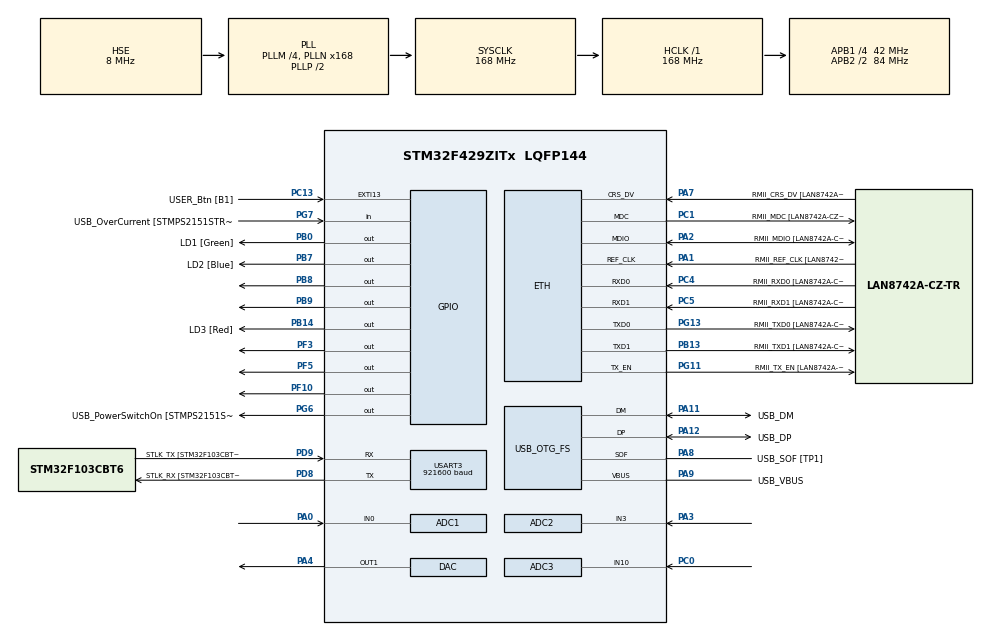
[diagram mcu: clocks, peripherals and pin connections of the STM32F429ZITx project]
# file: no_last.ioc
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ADC1.Channel-0\#ChannelRegularConversion=ADC_CHANNEL_0
ADC1.ContinuousConvMode=DISABLE
ADC1.DMAContinuousRequests=ENABLE
ADC1.ExternalTrigConv=ADC_EXTERNALTRIGCONV_T3_TRGO
ADC1.NbrOfConversion=1
ADC1.NbrOfConversionFlag=1
ADC1.Rank-0\#ChannelRegularConversion=1
ADC1.SamplingTime-0\#ChannelRegularConversion=ADC_SAMPLETIME_3CYCLES
ADC1.master=1
ADC2.Channel-3\#ChannelRegularConversion=ADC_CHANNEL_3
ADC2.ContinuousConvMode=DISABLE
ADC2.DMAContinuousRequests=ENABLE
ADC2.ExternalTrigConv=ADC_EXTERNALTRIGCONV_T2_TRGO
ADC2.NbrOfConversionFlag=1
ADC2.Rank-3\#ChannelRegularConversion=1
ADC2.SamplingTime-3\#ChannelRegularConversion=ADC_SAMPLETIME_3CYCLES
ADC3.Channel-2\#ChannelRegularConversion=ADC_CHANNEL_10
ADC3.DMAContinuousRequests=ENABLE
ADC3.ExternalTrigConv=ADC_EXTERNALTRIGCONV_T8_TRGO
ADC3.NbrOfConversionFlag=1
ADC3.Rank-2\#ChannelRegularConversion=1
ADC3.SamplingTime-2\#ChannelRegularConversion=ADC_SAMPLETIME_3CYCLES
DAC.DAC_Trigger=DAC_TRIGGER_T6_TRGO
Dma.ADC1.0.Direction=DMA_PERIPH_TO_MEMORY
Dma.ADC1.0.FIFOMode=DMA_FIFOMODE_DISABLE
Dma.ADC1.0.Instance=DMA2_Stream0
Dma.ADC1.0.MemDataAlignment=DMA_MDATAALIGN_WORD
Dma.ADC1.0.MemInc=DMA_MINC_ENABLE
Dma.ADC1.0.Mode=DMA_CIRCULAR
Dma.ADC1.0.PeriphDataAlignment=DMA_PDATAALIGN_WORD
Dma.ADC1.0.PeriphInc=DMA_PINC_DISABLE
Dma.ADC1.0.Priority=DMA_PRIORITY_LOW
Dma.ADC2.1.Direction=DMA_PERIPH_TO_MEMORY
Dma.ADC2.1.FIFOMode=DMA_FIFOMODE_DISABLE
Dma.ADC2.1.Instance=DMA2_Stream2
Dma.ADC2.1.MemDataAlignment=DMA_MDATAALIGN_WORD
Dma.ADC2.1.MemInc=DMA_MINC_DISABLE
Dma.ADC2.1.Mode=DMA_CIRCULAR
Dma.ADC2.1.PeriphDataAlignment=DMA_PDATAALIGN_WORD
Dma.ADC2.1.PeriphInc=DMA_PINC_DISABLE
Dma.ADC2.1.Priority=DMA_PRIORITY_LOW
Dma.ADC3.3.Direction=DMA_PERIPH_TO_MEMORY
Dma.ADC3.3.FIFOMode=DMA_FIFOMODE_DISABLE
Dma.ADC3.3.Instance=DMA2_Stream1
Dma.ADC3.3.MemDataAlignment=DMA_MDATAALIGN_HALFWORD
Dma.ADC3.3.MemInc=DMA_MINC_DISABLE
Dma.ADC3.3.Mode=DMA_CIRCULAR
Dma.ADC3.3.PeriphDataAlignment=DMA_PDATAALIGN_HALFWORD
Dma.ADC3.3.PeriphInc=DMA_PINC_DISABLE
Dma.ADC3.3.Priority=DMA_PRIORITY_LOW
Dma.DAC1.2.Direction=DMA_MEMORY_TO_PERIPH
Dma.DAC1.2.FIFOMode=DMA_FIFOMODE_DISABLE
Dma.DAC1.2.Instance=DMA1_Stream5
Dma.DAC1.2.MemDataAlignment=DMA_MDATAALIGN_HALFWORD
Dma.DAC1.2.MemInc=DMA_MINC_ENABLE
Dma.DAC1.2.Mode=DMA_CIRCULAR
Dma.DAC1.2.PeriphDataAlignment=DMA_PDATAALIGN_HALFWORD
Dma.DAC1.2.PeriphInc=DMA_PINC_DISABLE
Dma.DAC1.2.Priority=DMA_PRIORITY_LOW
Dma.Request0=ADC1
Dma.Request1=ADC2
Dma.Request2=DAC1
Dma.Request3=ADC3
ETH.MediaInterface=HAL_ETH_RMII_MODE
ETH.PHY_Name=LAN8742A_PHY_ADDRESS
ETH.PHY_Value=0
ETH.PhyAddress=0
Mcu.Family=STM32F4
Mcu.Name=STM32F429ZITx
Mcu.Package=LQFP144
NVIC.ADC_IRQn=true\:0\:0\:false\:false\:true\:true\:true\:true
NVIC.DMA1_Stream5_IRQn=true\:0\:0\:false\:false\:true\:false\:true\:true
NVIC.DMA2_Stream0_IRQn=true\:0\:0\:false\:false\:true\:false\:true\:true
NVIC.DMA2_Stream1_IRQn=true\:0\:0\:false\:false\:true\:false\:true\:true
NVIC.DMA2_Stream2_IRQn=true\:0\:0\:false\:false\:true\:false\:true\:true
NVIC.PriorityGroup=NVIC_PRIORITYGROUP_4
NVIC.TIM6_DAC_IRQn=true\:0\:0\:false\:false\:true\:true\:true\:true
NVIC.USART3_IRQn=true\:0\:0\:false\:false\:true\:true\:true\:true
PA0/WKUP.Signal=ADCx_IN0
PA1.GPIO_Label=RMII_REF_CLK [LAN8742A-CZ-TR_REFCLK0]
PA1.Mode=RMII
PA1.Signal=ETH_REF_CLK
PA10.GPIO_Label=USB_ID
PA10.Signal=USB_OTG_FS_ID
PA11.GPIO_Label=USB_DM
PA11.Mode=Device_Only
PA11.Signal=USB_OTG_FS_DM
PA12.GPIO_Label=USB_DP
PA12.Mode=Device_Only
PA12.Signal=USB_OTG_FS_DP
PA13.GPIO_Label=TMS
PA13.Mode=Serial_Wire
PA13.Signal=SYS_JTMS-SWDIO
PA14.GPIO_Label=TCK
PA14.Mode=Serial_Wire
PA14.Signal=SYS_JTCK-SWCLK
PA2.GPIO_Label=RMII_MDIO [LAN8742A-CZ-TR_MDIO]
PA2.Mode=RMII
PA2.Signal=ETH_MDIO
PA3.Signal=ADCx_IN3
PA4.Signal=COMP_DAC1_group
PA7.GPIO_Label=RMII_CRS_DV [LAN8742A-CZ-TR_CRS_DV]
PA7.Mode=RMII
PA7.Signal=ETH_CRS_DV
PA8.GPIO_Label=USB_SOF [TP1]
PA8.Mode=Activate_SOF_FS
PA8.Signal=USB_OTG_FS_SOF
PA9.GPIO_Label=USB_VBUS
PA9.Mode=Activate_VBUS
PA9.Signal=USB_OTG_FS_VBUS
PB0.GPIO_Label=LD1 [Green]
PB0.Signal=GPIO_Output
PB13.GPIO_Label=RMII_TXD1 [LAN8742A-CZ-TR_TXD1]
PB13.Mode=RMII
PB13.Signal=ETH_TXD1
PB14.GPIO_Label=LD3 [Red]
PB14.Signal=GPIO_Output
PB7.GPIO_Label=LD2 [Blue]
PB7.Signal=GPIO_Output
PB8.Signal=GPIO_Output
PB9.Signal=GPIO_Output
PC0.Signal=ADCx_IN10
PC1.GPIO_Label=RMII_MDC [LAN8742A-CZ-TR_MDC]
PC1.Mode=RMII
PC1.Signal=ETH_MDC
PC13.GPIO_Label=USER_Btn [B1]
PC13.Signal=GPXTI13
PC14/OSC32_IN.Mode=LSE-External-Oscillator
PC14/OSC32_IN.Signal=RCC_OSC32_IN
PC15/OSC32_OUT.Mode=LSE-External-Oscillator
PC15/OSC32_OUT.Signal=RCC_OSC32_OUT
PC4.GPIO_Label=RMII_RXD0 [LAN8742A-CZ-TR_RXD0]
PC4.Mode=RMII
PC4.Signal=ETH_RXD0
PC5.GPIO_Label=RMII_RXD1 [LAN8742A-CZ-TR_RXD1]
PC5.Mode=RMII
PC5.Signal=ETH_RXD1
PD8.GPIO_Label=STLK_RX [STM32F103CBT6_PA3]
PD8.Mode=Asynchronous
PD8.Signal=USART3_TX
PD9.GPIO_Label=STLK_TX [STM32F103CBT6_PA2]
PD9.Mode=Asynchronous
PD9.Signal=USART3_RX
PF10.Signal=GPIO_Output
PF3.Signal=GPIO_Output
PF5.Signal=GPIO_Output
PG11.GPIO_Label=RMII_TX_EN [LAN8742A-CZ-TR_TXEN]
PG11.Mode=RMII
PG11.Signal=ETH_TX_EN
PG13.GPIO_Label=RMII_TXD0 [LAN8742A-CZ-TR_TXD0]
PG13.Mode=RMII
PG13.Signal=ETH_TXD0
PG6.GPIO_Label=USB_PowerSwitchOn [STMPS2151STR_EN]
PG6.Signal=GPIO_Output
PG7.GPIO_Label=USB_OverCurrent [STMPS2151STR_FAULT]
PG7.Signal=GPIO_Input
PH0/OSC_IN.GPIO_Label=MCO [STM32F103CBT6_PA8]
PH0/OSC_IN.Mode=HSE-External-Clock-Source
PH0/OSC_IN.Signal=RCC_OSC_IN
PH1/OSC_OUT.Mode=HSE-External-Clock-Source
PH1/OSC_OUT.Signal=RCC_OSC_OUT
ProjectManager.HeapSize=0x200
ProjectManager.StackSize=0x400
ProjectManager.TargetToolchain=STM32CubeIDE
RCC.48MHZClocksFreq_Value=48000000
RCC.AHBFreq_Value=168000000
RCC.APB1CLKDivider=RCC_HCLK_DIV4
RCC.APB1Freq_Value=42000000
RCC.APB1TimFreq_Value=84000000
RCC.APB2CLKDivider=RCC_HCLK_DIV2
RCC.APB2Freq_Value=84000000
RCC.APB2TimCLKDivider=2
RCC.APB2TimFreq_Value=168000000
RCC.CortexFreq_Value=168000000
RCC.HCLKFreq_Value=168000000
RCC.HSE_VALUE=8000000
RCC.HSI_VALUE=16000000
RCC.PLLM=4
RCC.PLLMUL=RCC_PLL_MUL9
RCC.PLLN=168
RCC.PLLQ=7
RCC.PRESCALERUSB=RCC_USBCLKSOURCE_PLL_DIV1_5
RCC.SYSCLKFreq_VALUE=168000000
RCC.SYSCLKSource=RCC_SYSCLKSOURCE_PLLCLK
RCC.SYSCLKSourceVirtual=RCC_SYSCLKSOURCE_PLLCLK
RCC.USBFreq_Value=48000000
RCC.VCOOutputFreq_Value=336000000
SH.ADCx_IN0.0=ADC1_IN0,IN0
SH.ADCx_IN10.0=ADC3_IN10,IN10
SH.ADCx_IN3.0=ADC2_IN3,IN3
SH.COMP_DAC1_group.0=DAC_OUT1,DAC_OUT1
TIM2.AutoReloadPreload=TIM_AUTORELOAD_PRELOAD_ENABLE
TIM2.Period=15624
TIM2.Prescaler=83
TIM2.TIM_MasterOutputTrigger=TIM_TRGO_UPDATE
TIM3.AutoReloadPreload=TIM_AUTORELOAD_PRELOAD_ENABLE
TIM3.Period=9
TIM3.Prescaler=83
TIM3.TIM_MasterOutputTrigger=TIM_TRGO_UPDATE
TIM6.AutoReloadPreload=TIM_AUTORELOAD_PRELOAD_ENABLE
TIM6.TIM_MasterOutputTrigger=TIM_TRGO_UPDATE
TIM8.Period=15624
TIM8.Prescaler=167
TIM8.TIM_MasterOutputTrigger=TIM_TRGO_UPDATE
USART3.BaudRate=921600
USART3.VirtualMode=VM_ASYNC
USB_OTG_FS.VirtualMode=Device_Only
VP_TIM2_VS_ClockSourceINT.Mode=Internal
VP_TIM3_VS_ClockSourceINT.Mode=Internal
VP_TIM6_VS_ClockSourceINT.Mode=Enable_Timer
VP_TIM8_VS_ClockSourceINT.Mode=Internal
board=NUCLEO-F429ZI

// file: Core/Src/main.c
/* USER CODE BEGIN Header */
/* USER CODE END Header */
#include "main.h"
#include "string.h"

/* USER CODE BEGIN Includes */
#include <math.h>
#include <stdint.h>
/* USER CODE END Includes */

/* USER CODE BEGIN PD */
/* =====================================================================
 *  РАЗМЕРЫ БУФЕРОВ
 * ===================================================================== */
#define SCOPE_BUFFER_SIZE      500    /** Отсчётов в полном кадре осциллографа */
#define SCOPE_DECIMATION_STEP  10     /** Отправляем каждую N-ю точку в UART */
#define UART_BUFFER_SIZE       32     /** Максимальная длина строки в send_tagged/parser */

/* =====================================================================
 *  МАСКИ ФЛАГОВ
 * ===================================================================== */

/* События от прерываний (statusFlag) */
#define FLAG_OS_READY   (1 << 0)   /** ADC1 заполнил OS_buffer */
#define FLAG_UART_READY (1 << 1)   /** Принята полная команда по UART */
#define FLAG_V_READY    (1 << 2)   /** ADC2 сделал замер для вольтметра */
#define FLAG_A_READY    (1 << 3)   /** ADC3 сделал замер для амперметра */

/* Состояния ВКЛ/ВЫКЛ приборов (onFlag) */
#define FLAG_OS_ON      (1 << 0)   /** Осциллограф активен */
#define FLAG_V_ON       (1 << 1)   /** Вольтметр активен */
#define FLAG_GEN_ON     (1 << 2)   /** Генератор сигналов активен */
#define FLAG_A_ON       (1 << 3)   /** Амперметр активен */
#define FLAG_LC_ON      (1 << 4)   /** LC-метр активен (блокирует OS и GEN) */

/* =====================================================================
 *  КАЛИБРОВОЧНЫЕ КОНСТАНТЫ
 * ===================================================================== */
/** Коэффициенты пересчёта кодов АЦП в мВ для диапазонов вольтметра */
#define MODE_V_0_VALUE 3300      /** Диапазон 1:1 → 3.31 В полный ход */
#define MODE_V_1_VALUE 19800     /** Диапазон 1:6 → 19.8 В полный ход */

#define MAX_ANALOG_VALUE 3300    /** Соответствие 4095 → 3310 мВ на входе */
#define MAX_ADC_VALUE    4095    /** 12-битный АЦП: максимум кода */

/* =====================================================================
 *  GPIO ПЕРЕКЛЮЧАТЕЛЕЙ ДИАПАЗОНОВ ВОЛЬТМЕТРА
 * ===================================================================== */
#define PORT_S1 GPIOF
#define PORT_S2 GPIOF
#define PORT_S3 GPIOF

#define PIN_S1  GPIO_PIN_3
#define PIN_S2  GPIO_PIN_5
#define PIN_S3  GPIO_PIN_10

/* =====================================================================
 *  ГЕНЕРАТОР СИГНАЛОВ
 * ===================================================================== */
#define MAX_WAVE_POINTS    256          /** Размер таблицы (гладкость + память) */
#define MIN_WAVE_POINTS    16           /** Меньше — форма теряет читаемость */
#define TIM_CLK            84000000UL   /** Тактовая TIM6, Гц */
#define DAC_MAX_UPDATE_HZ 1000000UL    /** Комфортный предел обновления ЦАП, Гц */

/**
 * @brief  Сопротивление шунта амперметра
 * @note   СМОТРИ БАГ №2 НИЖЕ — текущее значение не согласовано с формулой в A_metr
 */
#define A_RESISTOR_VALUE 3300

/* =====================================================================
 *  LC-МЕТР (резонансный метод)
 * ===================================================================== */
#define LC_F_START      1000UL       /** Нижняя граница развёртки, Гц */
#define LC_F_STOP       10000UL      /** Верхняя граница (потолок осциллографа), Гц */
#define LC_COARSE_STEP  500UL        /** Шаг грубого прохода, Гц */
#define LC_FINE_STEP    50UL         /** Шаг тонкого прохода, Гц */
#define LC_FINE_SPAN    500UL        /** Полуширина окна тонкого прохода, Гц */
#define LC_SCOPE_FS     100000UL     /** Дискретизация осциллографа на замере, Гц */
#define LC_CAP_F        100e-9f      /** Эталонная ёмкость контура, Ф */
#define LC_AVG_N        4            /** Число оборотов DMA для усреднения амплитуды */

/* =====================================================================
 *  ENUM-Ы
 * ===================================================================== */

/**
 * @brief  Диапазоны измерения вольтметра (переключаются через GPIO S1/S2/S3)
 */
typedef enum {
    V_RANGE_1_1 = 0,    /** 1:1 — до ~3.3 В */
    V_RANGE_1_6 = 1,    /** 1:6 — до ~20 В */
    COUNT_V_RANGES      /** Служебное: количество диапазонов (для bounds check) */
} VoltageRange;

/**
 * @brief  Формы сигналов генератора
 */
typedef enum {
    W_SINE = 0,         /** Синус */
    W_SQR,              /** Меандр */
    W_TRI,              /** Треугольник */
    W_SAW,              /** Пила */
    W_COUNT             /** Служебное: количество форм (для bounds check) */
} WaveForm;

/* USER CODE END PD */

ETH_TxPacketConfig TxConfig;
ETH_DMADescTypeDef  DMARxDscrTab[ETH_RX_DESC_CNT]; /* Ethernet Rx DMA Descriptors */
ETH_DMADescTypeDef  DMATxDscrTab[ETH_TX_DESC_CNT]; /* Ethernet Tx DMA Descriptors */

ADC_HandleTypeDef hadc1;
ADC_HandleTypeDef hadc2;
ADC_HandleTypeDef hadc3;
DMA_HandleTypeDef hdma_adc1;
DMA_HandleTypeDef hdma_adc2;
DMA_HandleTypeDef hdma_adc3;

DAC_HandleTypeDef hdac;
DMA_HandleTypeDef hdma_dac1;

ETH_HandleTypeDef heth;

TIM_HandleTypeDef htim2;
TIM_HandleTypeDef htim3;
TIM_HandleTypeDef htim6;
TIM_HandleTypeDef htim8;

UART_HandleTypeDef huart3;

PCD_HandleTypeDef hpcd_USB_OTG_FS;

/* USER CODE BEGIN PV */
/* =====================================================================
 *  ГЛОБАЛЬНЫЕ ПЕРЕМЕННЫЕ СОСТОЯНИЯ
 * ===================================================================== */

/**
 * @brief  Коэффициенты для преобразования кодов АЦП → мВ на разных диапазонах
 * @note   Индексируется через VoltageRange; коэффициенты в "мВ на 4095" (LSB)
 */
const uint32_t voltage_coeffs[COUNT_V_RANGES] = {
    MODE_V_0_VALUE,
    MODE_V_1_VALUE
};

VoltageRange V_range = V_RANGE_1_1;

/** Значение АЦП2 для вольтметра (обновляется из ISR ADC2) */
volatile uint32_t V_value = 0;

/** Значение АЦП3 для амперметра (обновляется из ISR ADC3) */
volatile uint32_t A_value = 0;

/**
 * @brief  Таблицы форм сигналов для ЦАП
 * @note   waves[W_XXX][i] — i-я точка формы XXX, 12-битное значение (0..4095).
 *         gen_points — текущая длина активного периода (<= MAX_WAVE_POINTS).
 */
uint16_t waves[W_COUNT][MAX_WAVE_POINTS];
uint32_t gen_points;

/**
 * @brief  Круговой буфер осциллографа (заполняется DMA от ADC1)
 * @note   volatile обязателен: DMA пишет независимо от CPU.
 *         На время отправки в UART (Os_metr) TIM3 останавливается,
 *         чтобы буфер не перезаписывался под рукой.
 */
volatile uint32_t OS_buffer[SCOPE_BUFFER_SIZE];

/**
 * @brief  Флаги событий от прерываний (ISR пишет, main loop читает и сбрасывает)
 * @note   volatile обязателен — ISR обновляет из другого контекста.
 *         Маски: FLAG_OS_READY, FLAG_UART_READY, FLAG_V_READY, FLAG_A_READY
 */
volatile uint8_t statusFlag = 0;

/**
 * @brief  Флаги ВКЛ/ВЫКЛ приборов
 * @note   Пишется и читается только из main loop, поэтому volatile не требуется.
 *         Маски: FLAG_OS_ON, FLAG_V_ON, FLAG_GEN_ON, FLAG_A_ON, FLAG_LC_ON.
 *         Взаимная блокировка: OS и LC и GEN не могут быть включены одновременно.
 */
uint8_t onFlag = 0;

/** Буфер для сборки исходящих UART-строк (используется в send_tagged) */
char uart_buf[UART_BUFFER_SIZE];

/**
 * @brief  Буфер приёма UART-команд
 * @note   volatile обязателен: ISR (HAL_UART_RxCpltCallback) пишет буфер независимо
 */
volatile char rx_buffer[UART_BUFFER_SIZE];
volatile uint8_t rx_index = 0;    /** Текущий индекс записи в rx_buffer */
uint8_t rx_byte;         /** Последний принятый байт (ISR → main) */

/**
 * @brief  Состояние машины состояний LC-развёртки
 * @note   Все переменные — internal (static), доступ только через LC_start/LC_metr
 */
static uint8_t  lc_pass;       /** 0 = грубый проход, 1 = тонкий */
static uint8_t  lc_phase;      /** 0 = смыв старых данных, 1 = чистый буфер */
static uint32_t lc_f;          /** Текущая частота генератора */
static uint32_t lc_best_a;     /** Минимальная амплитуда в текущем проходе */
static uint32_t lc_best_f;     /** Частота, на которой был найден минимум */
static uint32_t lc_coarse_f;   /** Грубый минимум (центр окна тонкого прохода) */
static uint32_t lc_acc;        /** Аккумулятор сумм амплитуд для усреднения */
static uint8_t  lc_n;          /** Счётчик оборотов для усреднения (0..LC_AVG_N-1) */

/* USER CODE END PV */

void SystemClock_Config(void);
static void MX_GPIO_Init(void);
static void MX_DMA_Init(void);
static void MX_ETH_Init(void);
static void MX_USART3_UART_Init(void);
static void MX_USB_OTG_FS_PCD_Init(void);
static void MX_ADC1_Init(void);
static void MX_TIM3_Init(void);
static void MX_TIM2_Init(void);
static void MX_ADC2_Init(void);
static void MX_DAC_Init(void);
static void MX_TIM6_Init(void);
static void MX_ADC3_Init(void);
static void MX_TIM8_Init(void);
/* USER CODE BEGIN PFP */
void gen_set_freq(uint32_t hz);
void gen_fill_tables(void);
void gen_set_wave(WaveForm w);

void Os_metr(void);

void V_metr(void);
void V_set_range(uint8_t mode);

void A_metr(void);

int uint_to_string(uint32_t num, char *str);
void parser(void);
void On(void);

void send_bin_byte(UART_HandleTypeDef *huart, uint8_t val);
void send_tagged(char tag, uint32_t value);

void LC_metr(void);
void LC_start(void);

/* USER CODE END PFP */

int main(void)
{

  /* MCU Configuration--------------------------------------------------------*/

  /* Reset of all peripherals, Initializes the Flash interface and the Systick. */
  HAL_Init();

  /* Configure the system clock */
  SystemClock_Config();

  /* Initialize all configured peripherals */
  MX_GPIO_Init();
  MX_DMA_Init();
  MX_ETH_Init();
  MX_USART3_UART_Init();
  MX_USB_OTG_FS_PCD_Init();
  MX_ADC1_Init();
  MX_TIM3_Init();
  MX_TIM2_Init();
  MX_ADC2_Init();
  MX_DAC_Init();
  MX_TIM6_Init();
  MX_ADC3_Init();
  MX_TIM8_Init();
  /* USER CODE BEGIN 2 */

    HAL_ADC_Start_DMA(&hadc1, (uint32_t*)OS_buffer, SCOPE_BUFFER_SIZE);
    HAL_ADC_Start_DMA(&hadc2, (uint32_t*)&V_value, 1);
    HAL_ADC_Start_DMA(&hadc3, (uint32_t*)&A_value, 1);

    HAL_UART_Receive_IT(&huart3, &rx_byte, 1);

    gen_fill_tables();
  /* USER CODE END 2 */

  /* Infinite loop */
  while(1){

    /* USER CODE BEGIN 3 */

	  	  if (statusFlag & FLAG_OS_READY) {
	  		  if (onFlag & FLAG_LC_ON) {
	  			  LC_metr();
	  		  } else if (onFlag & FLAG_OS_ON) {
	  			  Os_metr();
	  		  }
	  		  statusFlag &= ~FLAG_OS_READY;
	  	  }

	  	  if (statusFlag & FLAG_UART_READY) {
	  		  statusFlag &= ~FLAG_UART_READY;
	  		  parser();
	  	  }

	  	  if (statusFlag & FLAG_V_READY) {
	  		  statusFlag &= ~FLAG_V_READY;
	  		  if (onFlag & FLAG_V_ON) V_metr();
	  	  }

	  	  if (statusFlag & FLAG_A_READY) {
	  		  statusFlag &= ~FLAG_A_READY;
	  		  if (onFlag & FLAG_A_ON) A_metr();
	  	  }
	  	  __WFI();

  }
  /* USER CODE END 3 */
}

void SystemClock_Config(void)
{
  RCC_OscInitTypeDef RCC_OscInitStruct = {0};
  RCC_ClkInitTypeDef RCC_ClkInitStruct = {0};

  /** Configure the main internal regulator output voltage
  */
  __HAL_RCC_PWR_CLK_ENABLE();
  __HAL_PWR_VOLTAGESCALING_CONFIG(PWR_REGULATOR_VOLTAGE_SCALE1);

  /** Initializes the RCC Oscillators according to the specified parameters
  * in the RCC_OscInitTypeDef structure.
  */
  RCC_OscInitStruct.OscillatorType = RCC_OSCILLATORTYPE_HSE;
  RCC_OscInitStruct.HSEState = RCC_HSE_BYPASS;
  RCC_OscInitStruct.PLL.PLLState = RCC_PLL_ON;
  RCC_OscInitStruct.PLL.PLLSource = RCC_PLLSOURCE_HSE;
  RCC_OscInitStruct.PLL.PLLM = 4;
  RCC_OscInitStruct.PLL.PLLN = 168;
  RCC_OscInitStruct.PLL.PLLP = RCC_PLLP_DIV2;
  RCC_OscInitStruct.PLL.PLLQ = 7;
  if (HAL_RCC_OscConfig(&RCC_OscInitStruct) != HAL_OK)
  {
    Error_Handler();
  }

  /** Initializes the CPU, AHB and APB buses clocks
  */
  RCC_ClkInitStruct.ClockType = RCC_CLOCKTYPE_HCLK|RCC_CLOCKTYPE_SYSCLK
                              |RCC_CLOCKTYPE_PCLK1|RCC_CLOCKTYPE_PCLK2;
  RCC_ClkInitStruct.SYSCLKSource = RCC_SYSCLKSOURCE_PLLCLK;
  RCC_ClkInitStruct.AHBCLKDivider = RCC_SYSCLK_DIV1;
  RCC_ClkInitStruct.APB1CLKDivider = RCC_HCLK_DIV4;
  RCC_ClkInitStruct.APB2CLKDivider = RCC_HCLK_DIV2;

  if (HAL_RCC_ClockConfig(&RCC_ClkInitStruct, FLASH_LATENCY_5) != HAL_OK)
  {
    Error_Handler();
  }
}

static void MX_ADC1_Init(void)
{

  ADC_ChannelConfTypeDef sConfig = {0};

  /** Configure the global features of the ADC (Clock, Resolution, Data Alignment and number of conversion)
  */
  hadc1.Instance = ADC1;
  hadc1.Init.ClockPrescaler = ADC_CLOCK_SYNC_PCLK_DIV4;
  hadc1.Init.Resolution = ADC_RESOLUTION_12B;
  hadc1.Init.ScanConvMode = DISABLE;
  hadc1.Init.ContinuousConvMode = DISABLE;
  hadc1.Init.DiscontinuousConvMode = DISABLE;
  hadc1.Init.ExternalTrigConvEdge = ADC_EXTERNALTRIGCONVEDGE_RISING;
  hadc1.Init.ExternalTrigConv = ADC_EXTERNALTRIGCONV_T3_TRGO;
  hadc1.Init.DataAlign = ADC_DATAALIGN_RIGHT;
  hadc1.Init.NbrOfConversion = 1;
  hadc1.Init.DMAContinuousRequests = ENABLE;
  hadc1.Init.EOCSelection = ADC_EOC_SINGLE_CONV;
  if (HAL_ADC_Init(&hadc1) != HAL_OK)
  {
    Error_Handler();
  }

  /** Configure for the selected ADC regular channel its corresponding rank in the sequencer and its sample time.
  */
  sConfig.Channel = ADC_CHANNEL_0;
  sConfig.Rank = 1;
  sConfig.SamplingTime = ADC_SAMPLETIME_3CYCLES;
  if (HAL_ADC_ConfigChannel(&hadc1, &sConfig) != HAL_OK)
  {
    Error_Handler();
  }

}

static void MX_ADC2_Init(void)
{

  ADC_ChannelConfTypeDef sConfig = {0};

  /** Configure the global features of the ADC (Clock, Resolution, Data Alignment and number of conversion)
  */
  hadc2.Instance = ADC2;
  hadc2.Init.ClockPrescaler = ADC_CLOCK_SYNC_PCLK_DIV4;
  hadc2.Init.Resolution = ADC_RESOLUTION_12B;
  hadc2.Init.ScanConvMode = DISABLE;
  hadc2.Init.ContinuousConvMode = DISABLE;
  hadc2.Init.DiscontinuousConvMode = DISABLE;
  hadc2.Init.ExternalTrigConvEdge = ADC_EXTERNALTRIGCONVEDGE_RISING;
  hadc2.Init.ExternalTrigConv = ADC_EXTERNALTRIGCONV_T2_TRGO;
  hadc2.Init.DataAlign = ADC_DATAALIGN_RIGHT;
  hadc2.Init.NbrOfConversion = 1;
  hadc2.Init.DMAContinuousRequests = ENABLE;
  hadc2.Init.EOCSelection = ADC_EOC_SINGLE_CONV;
  if (HAL_ADC_Init(&hadc2) != HAL_OK)
  {
    Error_Handler();
  }

  /** Configure for the selected ADC regular channel its corresponding rank in the sequencer and its sample time.
  */
  sConfig.Channel = ADC_CHANNEL_3;
  sConfig.Rank = 1;
  sConfig.SamplingTime = ADC_SAMPLETIME_3CYCLES;
  if (HAL_ADC_ConfigChannel(&hadc2, &sConfig) != HAL_OK)
  {
    Error_Handler();
  }

}

static void MX_ADC3_Init(void)
{

  ADC_ChannelConfTypeDef sConfig = {0};

  /** Configure the global features of the ADC (Clock, Resolution, Data Alignment and number of conversion)
  */
  hadc3.Instance = ADC3;
  hadc3.Init.ClockPrescaler = ADC_CLOCK_SYNC_PCLK_DIV4;
  hadc3.Init.Resolution = ADC_RESOLUTION_12B;
  hadc3.Init.ScanConvMode = DISABLE;
  hadc3.Init.ContinuousConvMode = DISABLE;
  hadc3.Init.DiscontinuousConvMode = DISABLE;
  hadc3.Init.ExternalTrigConvEdge = ADC_EXTERNALTRIGCONVEDGE_RISING;
  hadc3.Init.ExternalTrigConv = ADC_EXTERNALTRIGCONV_T8_TRGO;
  hadc3.Init.DataAlign = ADC_DATAALIGN_RIGHT;
  hadc3.Init.NbrOfConversion = 1;
  hadc3.Init.DMAContinuousRequests = ENABLE;
  hadc3.Init.EOCSelection = ADC_EOC_SINGLE_CONV;
  if (HAL_ADC_Init(&hadc3) != HAL_OK)
  {
    Error_Handler();
  }

  /** Configure for the selected ADC regular channel its corresponding rank in the sequencer and its sample time.
  */
  sConfig.Channel = ADC_CHANNEL_10;
  sConfig.Rank = 1;
  sConfig.SamplingTime = ADC_SAMPLETIME_3CYCLES;
  if (HAL_ADC_ConfigChannel(&hadc3, &sConfig) != HAL_OK)
  {
    Error_Handler();
  }

}

static void MX_DAC_Init(void)
{

  DAC_ChannelConfTypeDef sConfig = {0};

  /** DAC Initialization
  */
  hdac.Instance = DAC;
  if (HAL_DAC_Init(&hdac) != HAL_OK)
  {
    Error_Handler();
  }

  /** DAC channel OUT1 config
  */
  sConfig.DAC_Trigger = DAC_TRIGGER_T6_TRGO;
  sConfig.DAC_OutputBuffer = DAC_OUTPUTBUFFER_ENABLE;
  if (HAL_DAC_ConfigChannel(&hdac, &sConfig, DAC_CHANNEL_1) != HAL_OK)
  {
    Error_Handler();
  }

}

static void MX_ETH_Init(void)
{

   static uint8_t MACAddr[6];

  heth.Instance = ETH;
  MACAddr[0] = 0x00;
  MACAddr[1] = 0x80;
  MACAddr[2] = 0xE1;
  MACAddr[3] = 0x00;
  MACAddr[4] = 0x00;
  MACAddr[5] = 0x00;
  heth.Init.MACAddr = &MACAddr[0];
  heth.Init.MediaInterface = HAL_ETH_RMII_MODE;
  heth.Init.TxDesc = DMATxDscrTab;
  heth.Init.RxDesc = DMARxDscrTab;
  heth.Init.RxBuffLen = 1524;

  if (HAL_ETH_Init(&heth) != HAL_OK)
  {
    Error_Handler();
  }

  memset(&TxConfig, 0 , sizeof(ETH_TxPacketConfig));
  TxConfig.Attributes = ETH_TX_PACKETS_FEATURES_CSUM | ETH_TX_PACKETS_FEATURES_CRCPAD;
  TxConfig.ChecksumCtrl = ETH_CHECKSUM_IPHDR_PAYLOAD_INSERT_PHDR_CALC;
  TxConfig.CRCPadCtrl = ETH_CRC_PAD_INSERT;

}

static void MX_TIM2_Init(void)
{

  TIM_ClockConfigTypeDef sClockSourceConfig = {0};
  TIM_MasterConfigTypeDef sMasterConfig = {0};

  htim2.Instance = TIM2;
  htim2.Init.Prescaler = 83;
  htim2.Init.CounterMode = TIM_COUNTERMODE_UP;
  htim2.Init.Period = 15624;
  htim2.Init.ClockDivision = TIM_CLOCKDIVISION_DIV1;
  htim2.Init.AutoReloadPreload = TIM_AUTORELOAD_PRELOAD_ENABLE;
  if (HAL_TIM_Base_Init(&htim2) != HAL_OK)
  {
    Error_Handler();
  }
  sClockSourceConfig.ClockSource = TIM_CLOCKSOURCE_INTERNAL;
  if (HAL_TIM_ConfigClockSource(&htim2, &sClockSourceConfig) != HAL_OK)
  {
    Error_Handler();
  }
  sMasterConfig.MasterOutputTrigger = TIM_TRGO_UPDATE;
  sMasterConfig.MasterSlaveMode = TIM_MASTERSLAVEMODE_DISABLE;
  if (HAL_TIMEx_MasterConfigSynchronization(&htim2, &sMasterConfig) != HAL_OK)
  {
    Error_Handler();
  }

}

static void MX_TIM3_Init(void)
{

  TIM_ClockConfigTypeDef sClockSourceConfig = {0};
  TIM_MasterConfigTypeDef sMasterConfig = {0};

  htim3.Instance = TIM3;
  htim3.Init.Prescaler = 83;
  htim3.Init.CounterMode = TIM_COUNTERMODE_UP;
  htim3.Init.Period = 9;
  htim3.Init.ClockDivision = TIM_CLOCKDIVISION_DIV1;
  htim3.Init.AutoReloadPreload = TIM_AUTORELOAD_PRELOAD_ENABLE;
  if (HAL_TIM_Base_Init(&htim3) != HAL_OK)
  {
    Error_Handler();
  }
  sClockSourceConfig.ClockSource = TIM_CLOCKSOURCE_INTERNAL;
  if (HAL_TIM_ConfigClockSource(&htim3, &sClockSourceConfig) != HAL_OK)
  {
    Error_Handler();
  }
  sMasterConfig.MasterOutputTrigger = TIM_TRGO_UPDATE;
  sMasterConfig.MasterSlaveMode = TIM_MASTERSLAVEMODE_DISABLE;
  if (HAL_TIMEx_MasterConfigSynchronization(&htim3, &sMasterConfig) != HAL_OK)
  {
    Error_Handler();
  }

}

static void MX_TIM6_Init(void)
{

  TIM_MasterConfigTypeDef sMasterConfig = {0};

  htim6.Instance = TIM6;
  htim6.Init.Prescaler = 0;
  htim6.Init.CounterMode = TIM_COUNTERMODE_UP;
  htim6.Init.Period = 65535;
  htim6.Init.AutoReloadPreload = TIM_AUTORELOAD_PRELOAD_ENABLE;
  if (HAL_TIM_Base_Init(&htim6) != HAL_OK)
  {
    Error_Handler();
  }
  sMasterConfig.MasterOutputTrigger = TIM_TRGO_UPDATE;
  sMasterConfig.MasterSlaveMode = TIM_MASTERSLAVEMODE_DISABLE;
  if (HAL_TIMEx_MasterConfigSynchronization(&htim6, &sMasterConfig) != HAL_OK)
  {
    Error_Handler();
  }

}

static void MX_TIM8_Init(void)
{

  TIM_ClockConfigTypeDef sClockSourceConfig = {0};
  TIM_MasterConfigTypeDef sMasterConfig = {0};

  htim8.Instance = TIM8;
  htim8.Init.Prescaler = 167;
  htim8.Init.CounterMode = TIM_COUNTERMODE_UP;
  htim8.Init.Period = 15624;
  htim8.Init.ClockDivision = TIM_CLOCKDIVISION_DIV1;
  htim8.Init.RepetitionCounter = 0;
  htim8.Init.AutoReloadPreload = TIM_AUTORELOAD_PRELOAD_DISABLE;
  if (HAL_TIM_Base_Init(&htim8) != HAL_OK)
  {
    Error_Handler();
  }
  sClockSourceConfig.ClockSource = TIM_CLOCKSOURCE_INTERNAL;
  if (HAL_TIM_ConfigClockSource(&htim8, &sClockSourceConfig) != HAL_OK)
  {
    Error_Handler();
  }
  sMasterConfig.MasterOutputTrigger = TIM_TRGO_UPDATE;
  sMasterConfig.MasterSlaveMode = TIM_MASTERSLAVEMODE_DISABLE;
  if (HAL_TIMEx_MasterConfigSynchronization(&htim8, &sMasterConfig) != HAL_OK)
  {
    Error_Handler();
  }

}

static void MX_USART3_UART_Init(void)
{

  huart3.Instance = USART3;
  huart3.Init.BaudRate = 921600;
  huart3.Init.WordLength = UART_WORDLENGTH_8B;
  huart3.Init.StopBits = UART_STOPBITS_1;
  huart3.Init.Parity = UART_PARITY_NONE;
  huart3.Init.Mode = UART_MODE_TX_RX;
  huart3.Init.HwFlowCtl = UART_HWCONTROL_NONE;
  huart3.Init.OverSampling = UART_OVERSAMPLING_16;
  if (HAL_UART_Init(&huart3) != HAL_OK)
  {
    Error_Handler();
  }

}

static void MX_USB_OTG_FS_PCD_Init(void)
{

  hpcd_USB_OTG_FS.Instance = USB_OTG_FS;
  hpcd_USB_OTG_FS.Init.dev_endpoints = 4;
  hpcd_USB_OTG_FS.Init.speed = PCD_SPEED_FULL;
  hpcd_USB_OTG_FS.Init.dma_enable = DISABLE;
  hpcd_USB_OTG_FS.Init.phy_itface = PCD_PHY_EMBEDDED;
  hpcd_USB_OTG_FS.Init.Sof_enable = ENABLE;
  hpcd_USB_OTG_FS.Init.low_power_enable = DISABLE;
  hpcd_USB_OTG_FS.Init.lpm_enable = DISABLE;
  hpcd_USB_OTG_FS.Init.vbus_sensing_enable = ENABLE;
  hpcd_USB_OTG_FS.Init.use_dedicated_ep1 = DISABLE;
  if (HAL_PCD_Init(&hpcd_USB_OTG_FS) != HAL_OK)
  {
    Error_Handler();
  }

}

static void MX_DMA_Init(void)
{

  /* DMA controller clock enable */
  __HAL_RCC_DMA2_CLK_ENABLE();
  __HAL_RCC_DMA1_CLK_ENABLE();

  /* DMA interrupt init */
  /* DMA1_Stream5_IRQn interrupt configuration */
  HAL_NVIC_SetPriority(DMA1_Stream5_IRQn, 0, 0);
  HAL_NVIC_EnableIRQ(DMA1_Stream5_IRQn);
  /* DMA2_Stream0_IRQn interrupt configuration */
  HAL_NVIC_SetPriority(DMA2_Stream0_IRQn, 0, 0);
  HAL_NVIC_EnableIRQ(DMA2_Stream0_IRQn);
  /* DMA2_Stream1_IRQn interrupt configuration */
  HAL_NVIC_SetPriority(DMA2_Stream1_IRQn, 0, 0);
  HAL_NVIC_EnableIRQ(DMA2_Stream1_IRQn);
  /* DMA2_Stream2_IRQn interrupt configuration */
  HAL_NVIC_SetPriority(DMA2_Stream2_IRQn, 0, 0);
  HAL_NVIC_EnableIRQ(DMA2_Stream2_IRQn);

}

static void MX_GPIO_Init(void)
{
  GPIO_InitTypeDef GPIO_InitStruct = {0};

  /* GPIO Ports Clock Enable */
  __HAL_RCC_GPIOC_CLK_ENABLE();
  __HAL_RCC_GPIOF_CLK_ENABLE();
  __HAL_RCC_GPIOH_CLK_ENABLE();
  __HAL_RCC_GPIOA_CLK_ENABLE();
  __HAL_RCC_GPIOB_CLK_ENABLE();
  __HAL_RCC_GPIOD_CLK_ENABLE();
  __HAL_RCC_GPIOG_CLK_ENABLE();

  /*Configure GPIO pin Output Level */
  HAL_GPIO_WritePin(GPIOF, GPIO_PIN_3|GPIO_PIN_5|GPIO_PIN_10, GPIO_PIN_RESET);

  /*Configure GPIO pin Output Level */
  HAL_GPIO_WritePin(GPIOB, LD1_Pin|LD3_Pin|LD2_Pin|GPIO_PIN_8
                          |GPIO_PIN_9, GPIO_PIN_RESET);

  /*Configure GPIO pin Output Level */
  HAL_GPIO_WritePin(USB_PowerSwitchOn_GPIO_Port, USB_PowerSwitchOn_Pin, GPIO_PIN_RESET);

  /*Configure GPIO pin : USER_Btn_Pin */
  GPIO_InitStruct.Pin = USER_Btn_Pin;
  GPIO_InitStruct.Mode = GPIO_MODE_IT_RISING;
  GPIO_InitStruct.Pull = GPIO_NOPULL;
  HAL_GPIO_Init(USER_Btn_GPIO_Port, &GPIO_InitStruct);

  /*Configure GPIO pins : PF3 PF5 PF10 */
  GPIO_InitStruct.Pin = GPIO_PIN_3|GPIO_PIN_5|GPIO_PIN_10;
  GPIO_InitStruct.Mode = GPIO_MODE_OUTPUT_PP;
  GPIO_InitStruct.Pull = GPIO_NOPULL;
  GPIO_InitStruct.Speed = GPIO_SPEED_FREQ_LOW;
  HAL_GPIO_Init(GPIOF, &GPIO_InitStruct);

  /*Configure GPIO pins : LD1_Pin LD3_Pin LD2_Pin PB8
                           PB9 */
  GPIO_InitStruct.Pin = LD1_Pin|LD3_Pin|LD2_Pin|GPIO_PIN_8
                          |GPIO_PIN_9;
  GPIO_InitStruct.Mode = GPIO_MODE_OUTPUT_PP;
  GPIO_InitStruct.Pull = GPIO_NOPULL;
  GPIO_InitStruct.Speed = GPIO_SPEED_FREQ_LOW;
  HAL_GPIO_Init(GPIOB, &GPIO_InitStruct);

  /*Configure GPIO pin : USB_PowerSwitchOn_Pin */
  GPIO_InitStruct.Pin = USB_PowerSwitchOn_Pin;
  GPIO_InitStruct.Mode = GPIO_MODE_OUTPUT_PP;
  GPIO_InitStruct.Pull = GPIO_NOPULL;
  GPIO_InitStruct.Speed = GPIO_SPEED_FREQ_LOW;
  HAL_GPIO_Init(USB_PowerSwitchOn_GPIO_Port, &GPIO_InitStruct);

  /*Configure GPIO pin : USB_OverCurrent_Pin */
  GPIO_InitStruct.Pin = USB_OverCurrent_Pin;
  GPIO_InitStruct.Mode = GPIO_MODE_INPUT;
  GPIO_InitStruct.Pull = GPIO_NOPULL;
  HAL_GPIO_Init(USB_OverCurrent_GPIO_Port, &GPIO_InitStruct);

}

/* USER CODE BEGIN 4 */

/**
 * @brief  Колбэк завершения преобразования АЦП
 * @note   Фиксирует готовность данных для соответствующих измерительных модулей:
 *          - ADC1: Осциллограф
 *          - ADC2: Вольтметр
 *          - ADC3: Амперметр
 * @param  hadc Указатель на структуру хэндлера АЦП, вызвавшего прерывание.
 */
void HAL_ADC_ConvCpltCallback(ADC_HandleTypeDef* hadc) {
    if (hadc->Instance == ADC1) statusFlag |= FLAG_OS_READY;
    else if (hadc->Instance == ADC2) statusFlag |= FLAG_V_READY;
    else if (hadc->Instance == ADC3) statusFlag |= FLAG_A_READY;
}

/**
 * @brief  Колбэк посимвольного приема данных из UART
 * @note   Сборка пакета идет в линейный буфер rx_buffer до появления символов '\r' или '\n'.
 * @warning Обработка флага FLAG_UART_READY должна сбрасывать его в основном цикле,
 *          иначе новые данные начнут перезаписывать буфер.
 * @param  huart Указатель на структуру хэндлера UART.
 */
void HAL_UART_RxCpltCallback(UART_HandleTypeDef *huart) {
    if (huart->Instance == USART3) {

        // определение коньца строки по спец символам
        if (rx_byte == '\n' || rx_byte == '\r') {
            if (rx_index > 0) {
                statusFlag |= FLAG_UART_READY;
                rx_buffer[rx_index] = '\0';
                rx_index = 0;               // Сброс индекса для подготовки к следующему пакету
            }
        }
        // Накопление символов в буфере
        else {
            // Защита от переполнения буфера (оставляем 1 байт под '\0')
            if (rx_index < (sizeof(rx_buffer) - 1)) {
                rx_buffer[rx_index] = rx_byte;
                rx_index++;
            }

        }

        // Перезапуск прерывания на прием следующего байта
        HAL_UART_Receive_IT(&huart3, &rx_byte, 1);
    }
}
/**
 * @brief  Расчет напряжения на осциллографе и отправка пакета данных в UART.
 * @note   Перед отправкой таймер TIM3 временно останавливается. Это предотвращает
 *         перезапись текущего буфера новыми данными от DMA во время трансляции.
 * @note   Данные прореживаются с шагом SCOPE_DECIMATION_STEP для снижения нагрузки на UART.
 */
void Os_metr(void) {
    HAL_TIM_Base_Stop(&htim3);

    for (int i = 0; i < SCOPE_BUFFER_SIZE; i += SCOPE_DECIMATION_STEP) {
        // Перевод сырых значений АЦП в милливольты
        uint32_t voltage_mv = (OS_buffer[i] * MAX_ANALOG_VALUE) / MAX_ADC_VALUE;

        send_tagged('O', voltage_mv);
    }

    HAL_TIM_Base_Start(&htim3);
}

/**
 * @brief  Заполнение таблиц форм сигнала генератора специальных сигналов.
 * @note   Генерирует таблицы отсчетов для 4 типов сигналов:
 *          - W_SINE: Синусоида
 *          - W_SQR:  Меандр (скважность 50%)
 *          - W_TRI:  Треугольный сигнал
 *          - W_SAW:  Пилообразный сигнал
 * @note   Расчеты завязаны на 12-битное разрешение встроенного ЦАП (диапазон значений 0..4095).
 */
void gen_fill_tables(void) {
    for (int i = 0; i < gen_points; i++) {
        float ph = (float)i / gen_points;   // Нормированная фаза (0.0..1.0) внутри одного периода

        // Синус: сдвиг на +1.0 и масштабирование в диапазон 0..4095
        waves[W_SINE][i] = (uint16_t)((sinf(2.0f * 3.14159265f * ph) + 1.0f) * 2047.5f);

        // Меандр: 50% скважность
        waves[W_SQR][i]  = (ph < 0.5f) ? 4095 : 0;

        // Треугольник: линейный рост до 0.5, затем линейный спад до 1.0
        waves[W_TRI][i]  = (uint16_t)(((1.0f - 4.0f * fabsf(ph - 0.5f)) + 1.0f) * 2047.5f);

        // Пила: линейный рост от 0 до 4095
        waves[W_SAW][i]  = (uint16_t)(ph * 4095.0f);
    }
}

/**
 * @brief  Динамическая установка частоты генератора
 * @note   Алгоритм адаптирует количество точек сигнала под целевую частоту
 *         и рассчитывает делители таймера TIM6 так, чтобы избежать переполнения 16-битного ARR.
 * @param  hz Требуемая частота выходного сигнала в Гц.
 */
void gen_set_freq(uint32_t hz) {
    // Защита от деления на ноль
    if (hz == 0) {
        hz = 1;
    }

    // Ограничение сверху: предотвращаем превышение максимальной скорости ЦАП
    // Максимальная частота сигнала ограничена скоростью обновления ЦАП и мин. кол-вом точек
    const uint32_t MAX_SIGNAL_HZ = DAC_MAX_UPDATE_HZ / MIN_WAVE_POINTS;
    if (hz > MAX_SIGNAL_HZ) {
        hz = MAX_SIGNAL_HZ;
    }

    // Расчет количества точек на период
    // Чем выше частота, тем меньше точек помещается в период при фиксированной скорости ЦАП
    gen_points = DAC_MAX_UPDATE_HZ / hz;

    // Ограничиваем количество точек разумными пределами для качества и памяти
    if (gen_points > MAX_WAVE_POINTS) {
        gen_points = MAX_WAVE_POINTS;
    }

    // Расчет параметров таймера
    uint32_t fs    = hz * gen_points;        // Реальная частота дискретизации (<= DAC_MAX_UPDATE_HZ)
    uint32_t ticks = TIM_CLK / fs;           // Тиков таймера на один отсчет ЦАП

    // TIM6 — 16-битный. Разбиваем большой счетчик на PSC (предделитель) и ARR (период)
    // PSC выбирается так, чтобы ARR поместился в 16 бит (<= 65535)
    uint32_t psc = ticks / 65536UL;

    TIM6->PSC = psc;
    // ARR = (общее число тиков / (psc+1)) - 1.
    // Вычитаем 1, т.к. счет идет от 0 до ARR (всего ARR+1 состояний)
    TIM6->ARR = (ticks / (psc + 1)) - 1;

    // Пересчитываем таблицу волновых форм, так как изменилось количество точек
    gen_fill_tables();
}

/**
 * @brief  Установка новой формы волны
 * @note   Останавливает текущий DMA и запускает его с новым буфером.
 * @param  w - объект enum (W_SINE, W_SQR, W_TRI, W_SAW)
 */
void gen_set_wave(WaveForm w) {

    HAL_DAC_Stop_DMA(&hdac, DAC_CHANNEL_1);

    HAL_DAC_Start_DMA(&hdac, DAC_CHANNEL_1,
    					(uint32_t*)waves[w],
						gen_points,
						DAC_ALIGN_12B_R);
}

/**
 * @brief  Установка новой частоты генератора (специально для режима LC-метра)
 * @note   Использует строго фиксированное количество точек (MAX_WAVE_POINTS).
 *         Это критично для быстродействия: исключает тяжелый пересчет
 *         таблицы отсчетов при каждом шаге сканирования частоты.
 * @note   Предназначена ТОЛЬКО для режима LC-метра.
 *         Для режима автономного генератора используйте адаптивный алгоритм.
 * @param  hz Требуемая частота синусоиды в Гц.
 */
static void gen_set_freq_fixed(uint32_t hz) {
    gen_points = MAX_WAVE_POINTS;

    uint32_t fs    = hz * gen_points;
    uint32_t ticks = TIM_CLK / fs;
    uint32_t psc   = ticks / 65536UL;

    // Обновляем регистры таймера.
    /* Таблица отсчетов НЕ пересчитывается, так как при фиксированном
       gen_points форма синусоиды математически идентична на любой частоте.*/
    TIM6->PSC = psc;
    TIM6->ARR = (ticks / (psc + 1)) - 1;

}

/**
 * @brief  Вычисление размаха синусоиды
 * @note   Алгоритм: берём минимумы/максимумы пар соседних точек,
 *         что отбрасывает одиночные иголки (они не повторяются в двух сэмплах подряд).
 *
 * @retval Размах сигнала в кодах АЦП (0..4095)
 */
static uint32_t lc_amplitude(void) {
    uint32_t robust_high = 0;
    uint32_t robust_low = 4095;

    for (uint32_t i = 0; i < SCOPE_BUFFER_SIZE - 1; i++) {
        uint32_t sample_curr = OS_buffer[i];
        uint32_t sample_next = OS_buffer[i + 1];

        // минимум пары — срезает высокую иголку
        uint32_t pair_min = (sample_curr < sample_next) ? sample_curr : sample_next;

        // максимум пары — срезает низкую иголку
        uint32_t pair_max = (sample_curr > sample_next) ? sample_curr : sample_next;

        // ищем самый высокий "устойчивый" пик и самую низкую "устойчивую" впадину
        if (pair_min > robust_high) robust_high = pair_min;
        if (pair_max < robust_low)  robust_low = pair_max;
    }

    return robust_high - robust_low;
}
/**
 * @brief  Вычисление индуктивности по резонансной частоте
 * @note   Работает в паре с lc_amplitude() и LC-развёрткой:
 *         после нахождения резонансной частоты считает индуктивность,
 *         используя известную эталонную ёмкость LC_CAP_F.
 * @note   Формула: L [мГн] = 1000 / (4π²f²C)
 * @param  f_hz Резонансная частота LC-контура, Гц
 * @retval Индуктивность катушки в миллиГенри (округлено до целого)
 */
static uint32_t lc_compute_mH(uint32_t f_hz) {
    float f = (float)f_hz;
    float l = 1000.0f / (4.0f * 3.14159265f * 3.14159265f * f * f * LC_CAP_F);

    // +0.5 перед отбрасыванием дробной части = математическое округление
    return (uint32_t)(l + 0.5f);
}

/**
 * @brief  Инициализация LC-метра перед развёрткой.
 * @note   Переводит систему в монопольный режим LC-измерения:
 *         - Отключает осциллограф и генератор (взаимная блокировка ресурсов)
 *         - Фиксирует частоту дискретизации АЦП на LC_SCOPE_FS
 *         - Сбрасывает состояние машины состояний
 *         - Запускает генератор на стартовой частоте
 * @note   После вызова main loop должен вызывать LC_metr() по событию FLAG_OS_READY.
 */
void LC_start(void) {
    /* LC монопольно забирает TIM3 (АЦП) и TIM6 (ЦАП): освобождаем общие ресурсы
       во избежание конфликтов периферии */
    onFlag &= ~FLAG_OS_ON;
    onFlag &= ~FLAG_GEN_ON;

    // Рассчитываем период таймера (ARR) исходя из базовой частоты тактирования шины TIM3.
    // Минус 1 компенсирует счет таймера от нуля.
    uint32_t new_arr = (1000000UL / LC_SCOPE_FS) - 1;
    __HAL_TIM_SET_AUTORELOAD(&htim3, new_arr);

    lc_pass   = 0;
    lc_f      = LC_F_START;
    lc_best_a = UINT32_MAX;   // Гарантирует, что первое же измерение перезапишет минимум
    lc_phase  = 0;            // Первый оборот после старта — смывной (срез переходных процессов)

    // Используем фиксированное максимальное количество точек для сохранения гладкости волны.
    // Это позволяет не перенастраивать DMA «на лету» во время развертки, исключая сбои тактирования.
    gen_set_freq_fixed(lc_f);
    gen_fill_tables();
    gen_set_wave(W_SINE);     // Синусоида обеспечивает наиболее чистый резонанс в контуре

    onFlag |= FLAG_LC_ON;
}

/**
 * @brief  Машина состояний LC-развёртки
 * @note   Вызывается из main loop по событию FLAG_OS_READY (каждые 5 мс при 100 кГц).
 *         Реализует двухпроходный поиск резонанса:
 *         - Coarse pass: сканирование диапазона с шагом LC_COARSE_STEP
 *         - Fine pass: уточнение вокруг минимума с шагом LC_FINE_STEP
 * @note   Фазовая модель:
 *         - lc_phase = 0: пропуск оборота DMA (flush transient)
 *         - lc_phase = 1: накопление LC_AVG_N измерений для усреднения
 *         - Завершение: сброс FLAG_LC_ON, отправка F и L
 * @note   На каждом шаге (кроме завершения) обновляет частоту генератора
 *         и переводит lc_phase = 0 для следующего flush-оборота
 */
void LC_metr(void) {
    if (!(onFlag & FLAG_LC_ON)) return;

    /* Смывной оборот: в буфере ещё смесь старого и нового сигнала
       после смены частоты — пропускаем без измерения */
    if (lc_phase == 0) {
        lc_phase = 1;
        lc_acc = 0;
        lc_n = 0;
        return;
    }

    // Копим LC_AVG_N оборотов и усредняем — давит шум и артефакты
    lc_acc += lc_amplitude();
    if (++lc_n < LC_AVG_N) return;

    uint32_t a = lc_acc / LC_AVG_N;

    // Последовательный резонанс = провал амплитуды, ищем МИНИМУМ
    if (a < lc_best_a) { lc_best_a = a; lc_best_f = lc_f; }

    if (lc_pass == 0) {
        if (lc_f + LC_COARSE_STEP <= LC_F_STOP) {
            lc_f += LC_COARSE_STEP;
        } else {
            /* Грубый проход завершён: запоминаем минимум и переходим
               к тонкому сканированию в окне ±LC_FINE_SPAN */
            lc_pass     = 1;
            lc_coarse_f = lc_best_f;
            /* UINT32_MAX гарантирует, что первый замер тонкого прохода
               сразу обновит минимум */
            lc_best_a   = UINT32_MAX;
            // Кламп снизу: не уйти ниже LC_F_START при отступе назад
            lc_f = (lc_coarse_f > LC_FINE_SPAN) ? lc_coarse_f - LC_FINE_SPAN
                                                : LC_F_START;
        }
    } else {
        if (lc_f + LC_FINE_STEP <= lc_coarse_f + LC_FINE_SPAN) {
            lc_f += LC_FINE_STEP;
        } else {
            // Развёртка завершена: выключаем LC, отдаём результат
            onFlag &= ~FLAG_LC_ON;
            send_tagged('F', lc_best_f);

            send_tagged('L', lc_compute_mH(lc_best_f));
            return;
        }
    }

    // Частота изменилась → следующий оборот смывной (переходные процессы)
    gen_set_freq_fixed(lc_f);
    lc_phase = 0;
}

/**
 * @brief  Расчет силы тока на амперметре и отправка данных в UART.
 * @note   Математика целочисленная. Для сохранения точности тока
 */
void A_metr(void){
	uint32_t shunt_mv = (A_value * MAX_ANALOG_VALUE) / MAX_ADC_VALUE;

	//Умножение на 1000 так как номинал резистора в миллиомах
	uint32_t current_ma = (shunt_mv * 1000)/A_RESISTOR_VALUE;
	send_tagged('a', shunt_mv);
    send_tagged('A', current_ma);
}

/**
 * @brief  Расчет напряжения на вольтметре и отправка данных в UART.
 */
void V_metr(void) {
    if (V_range >= COUNT_V_RANGES) V_range = V_RANGE_1_1;

    uint32_t voltage_mv = (V_value * voltage_coeffs[V_range]) / MAX_ADC_VALUE;
    send_tagged('v', V_value);
    send_tagged('V', voltage_mv);
}

/**
 * @brief  Установка аппаратного диапазона измерения вольтметра.
 * @note   Входные диапазоны аттенюатора:
 *          - V_RANGE_1_1: Без делителя (0 - 3.3 В)
 *          - V_RANGE_1_6: С делителем напряжения (0 - 19.8 В)
 * @param  mode Числовое значение целевого диапазона, приводимое к VoltageRange.
 */
void V_set_range(uint8_t mode) {
    // Защита от передачи некорректного индекса во избежание сбоя мультиплексора
    if (mode >= COUNT_V_RANGES) return;
    V_range = (VoltageRange)mode;

    /* Значения перечисления VoltageRange специально спроектированы так, чтобы их двоичный
       код (биты 0, 1, 2) напрямую соответствовал логическим уровням на управляющих пинах S1, S2, S3. */

    // Младшие 16 бит регистра BSRR устанавливают пин в 1, старшие 16 бит (сдвиг << 16) сбрасывают в 0.
    PORT_S1->BSRR = (V_range & 1) ? PIN_S1 : ((uint32_t)PIN_S1 << 16);
    PORT_S2->BSRR = (V_range & 2) ? PIN_S2 : ((uint32_t)PIN_S2 << 16);
    PORT_S3->BSRR = (V_range & 4) ? PIN_S3 : ((uint32_t)PIN_S3 << 16);
}

/**
 * @brief  Обновление состояния аппаратных таймеров в соответствии с флагами приборов.
 * @note   Эта функция синхронизирует логическое состояние оборудования с физическими
 *         выходами МК. Должна вызываться каждый раз после изменения `onFlag`.
 *
 * @details Взаимосвязь таймеров и модулей:
 *          - TIM2: Вольтметр
 *          - TIM3: Индуктивометр ИЛИ Осциллограф (общие цепи, гасится только при отключении обоих).
 *          - TIM6: Индуктивометр ИЛИ Генератор (аппаратная связь модулей, гасится только при отключении обоих).
 *          - TIM8: Амперметр.
 *
 * @see    parser
 */
void On(void) {

	//Модули зависят от триггера(TRGO) своих таймеров

    // Вольтметр
    if (onFlag & FLAG_V_ON) {
        HAL_TIM_Base_Start(&htim2);
    } else {
        HAL_TIM_Base_Stop(&htim2);
    }

    // TIM3 обслуживает и индуктивометр, и осциллограф.
    // Гасим таймер, только если выключены оба прибора.
    if ((onFlag & FLAG_LC_ON) || (onFlag & FLAG_OS_ON)) {
        HAL_TIM_Base_Start(&htim3);
    } else {
        HAL_TIM_Base_Stop(&htim3);
    }

    // TIM6 обслуживает генератор и индуктивометр

    if ((onFlag & FLAG_LC_ON) || (onFlag & FLAG_GEN_ON)) {
        HAL_TIM_Base_Start(&htim6);
    } else {
        HAL_TIM_Base_Stop(&htim6);
    }

    // Амперметр
    if (onFlag & FLAG_A_ON) {
        HAL_TIM_Base_Start(&htim8);
    } else {
        HAL_TIM_Base_Stop(&htim8);
    }

}

/**
 * @brief  Парсер входящих текстовых команд из UART.
 * @note   Принимает текстовые команды, обновляет флаги состояния onFlag
 *         и применяет настройки к периферии (таймеры, АЦП, ЦАП).
 *
 * @format Формат команд:
 *         1. Без параметров:  "<КОМАНДА> <ON|OFF>\r\n"
 *         2. С параметром:   "<КОМАНДА> <ЧИСЛО>\r\n"
 *
 * @example Примеры пакетов:
 *          "OS ON\r"       -> Включить осциллограф
 *          "OSFREQ 5000\n" -> Установить частоту осциллографа 5 кГц
 */
void parser(void) {
    char cmd[16];
    char sw[8];
    uint32_t param = 0;

    // Оставляем 1 байт под терминирующий нуль для защиты от переполнения буфера
    memset(cmd, 0, sizeof(cmd));
    memset(sw, 0, sizeof(sw));

    int i = 0, j = 0;

    // Выделение имени команды
    while (rx_buffer[i] != ' ' && rx_buffer[i] != '\0' && rx_buffer[i] != '\n' && rx_buffer[i] != '\r') {
        if (j < (sizeof(cmd) - 1)) cmd[j++] = rx_buffer[i];
        i++;
    }
    cmd[j] = '\0';

    // Пропуск разделителей
    while (rx_buffer[i] == ' ' || rx_buffer[i] == '\t') i++;

    j = 0;
    int is_number = 0;

    // Парсинг аргумента: либо число (param), либо строка-переключатель (sw)
    if (rx_buffer[i] >= '0' && rx_buffer[i] <= '9') {
        is_number = 1;
        while (rx_buffer[i] >= '0' && rx_buffer[i] <= '9') {
            param = param * 10 + (rx_buffer[i] - '0');
            i++;
        }
    } else {
        while (rx_buffer[i] != ' ' && rx_buffer[i] != '\0' && rx_buffer[i] != '\n' && rx_buffer[i] != '\r') {
            if (j < (sizeof(sw) - 1)) sw[j++] = rx_buffer[i];
            i++;
        }
        sw[j] = '\0';
    }

    // Включение осциллографа монопольно отключает LC-метр (аппаратное ограничение)
    if (strcmp(cmd, "OS") == 0) {
        if (strcmp(sw, "ON") == 0) {
            onFlag |= FLAG_OS_ON;
            onFlag &= ~FLAG_LC_ON;
        }
        else if (strcmp(sw, "OFF") == 0) {
            onFlag &= ~FLAG_OS_ON;
        }
    }
    // Генератор и LC-метр также используют общие цепи и взаимоисключают друг друга
    else if (strcmp(cmd, "GEN") == 0) {
        if (strcmp(sw, "ON") == 0) {
            onFlag |= FLAG_GEN_ON;
            onFlag &= ~FLAG_LC_ON;
        }
        else if (strcmp(sw, "OFF") == 0) {
            onFlag &= ~FLAG_GEN_ON;
        }
    }
    // LC-метр при старте сам захватывает и настраивает цепи генератора и осциллографа
    else if (strcmp(cmd, "L") == 0) {
        if (strcmp(sw, "ON") == 0) {
            LC_start();
        }
        else if (strcmp(sw, "OFF") == 0) {
            onFlag &= ~FLAG_LC_ON;
        }
    }
    // Вольтметр
    else if (strcmp(cmd, "V") == 0) {
        if (strcmp(sw, "ON") == 0) onFlag |= FLAG_V_ON;
        else if (strcmp(sw, "OFF") == 0) onFlag &= ~FLAG_V_ON;
    }
    // Амперметр
    else if (strcmp(cmd, "A") == 0) {
        if (strcmp(sw, "ON") == 0) onFlag |= FLAG_A_ON;
        else if (strcmp(sw, "OFF") == 0) onFlag &= ~FLAG_A_ON;
    }
    // Изменение частоты осциллографа
    else if (strcmp(cmd, "OSFREQ") == 0 && is_number) {
        // Ограничение 1 МГц обусловлено пределом стабильной дискретизации встроенного АЦП
        if (param > 0 && param <= 1000000 && !(onFlag & FLAG_LC_ON)) {
            uint32_t new_arr = (1000000 / param) - 1;
            HAL_UART_Transmit(&huart3, (uint8_t*)&param, sizeof(param), 100);
            __HAL_TIM_SET_AUTORELOAD(&htim3, new_arr);
        }
    }
    // Выбор частоты работы генератора специальных сигналов
    else if (strcmp(cmd, "GENFREQ") == 0 && is_number) {

        /* Максимальная частота ограничена 62.5 кГц
           так как при меньшем количестве точек форма сигнала полностью теряется.*/
        if (param > 0 && param <= 62500) {
            gen_set_freq(param);
        }
    }

    // Форма сигнала генератора
    else if (strcmp(cmd, "SETWAVEFORM") == 0 && is_number) {
        if (param <= W_COUNT) {
            gen_set_wave((WaveForm)param);
        }
    }
    // Диапазон вольтметра
    else if (strcmp(cmd, "VRANGE") == 0 && is_number) {
        V_set_range(param);
        send_bin_byte(&huart3, V_range);
    }

    // Применяем обновленный массив флагов к аппаратным таймерам
    On();
}
/**
 * @brief  Преобразование unsigned 32-битного числа в ASCII-строку (без ведущего нуля)
 * @param  num Число для преобразования
 * @param  str Выходной буфер (должен вмещать до 11 байт: 10 цифр + '\0')
 * @retval Длина записанной строки (без учёта '\0')
 * @note   Используется внутри send_tagged() вместо itoa/stdio,
 *         чтобы не тянуть в прошивку тяжёлый libc
 */
int uint_to_string(uint32_t num, char *str) {
    int i = 0;

    /* Отдельный разбор нуля: основной цикл while(num > 0) для нуля просто не выполнится */
    if (num == 0) {
        str[i++] = '0';
        str[i] = '\0';
        return i;
    }

    /* Извлекаем цифры с конца (младшие разряды первыми) —
       поэтому строка получается перевёрнутой */
    while (num > 0) {
        str[i++] = (num % 10) + '0';
        num /= 10;
    }
    str[i] = '\0';

    /* Разворот на месте: меняем местами символы от краёв к центру,
       превращая "4321" в "1234" */
    int start = 0, end = i - 1;
    while (start < end) {
        char temp = str[start];
        str[start] = str[end];
        str[end] = temp;
        start++;
        end--;
    }

    return i;
}

/**
 * @brief  Отправка байта в виде 8 ASCII-символов '0'/'1' (старший бит первым)
 * @param  huart Handle UART-порта
 * @param  val Байт для отправки
 * @note   Используется для отладочной выдачи onFlag/V_range — удобно
 *         смотреть состояние флагов прямо в терминале
 */
void send_bin_byte(UART_HandleTypeDef *huart, uint8_t val) {
    char buf[9];

    /* i = индекс бита (7→0, т.е. от старшего к младшему),
       7-i = индекс в буфере, чтобы старший бит попал в buf[0] */
    for (int i = 7; i >= 0; i--) {
        buf[7 - i] = (val & (1 << i)) ? '1' : '0';
    }

    buf[8] = '\0';
    HAL_UART_Transmit(huart, (uint8_t*)buf, 8, HAL_MAX_DELAY);
}

/**
 * @brief  Отправка тегированного значения: "T value\r\n"
 * @param  tag Односимвольный тег канала (O, V, A, F, L и т.д.)
 * @param  value Числовое значение, которое будет преобразовано в десятичную строку
 * @note   Формат строки: "<tag> <value>\r\n" — такой формат легко парсить
 *         на стороне SerialPlot/ПК по первому символу
 * @note   Использует глобальный uart_buf — не потокобезопасна
 */
void send_tagged(char tag, uint32_t value) {
    /* Сначала получаем строку с числом в начале uart_buf */
    int len = uint_to_string(value, uart_buf);

    /* Сдвиг строки на 2 позиции вправо (освобождаем место для "T "),
       идём с конца к началу, чтобы не затирать не перенесённые данные */
    for (int j = len; j >= 0; j--) {
        uart_buf[j + 2] = uart_buf[j];
    }

    uart_buf[0] = tag;
    uart_buf[1] = ' ';

    /* После сдвига '\0' стоит в uart_buf[len+2] — заменяем его на \r
       и добавляем \n */
    uart_buf[len + 2] = '\r';
    uart_buf[len + 3] = '\n';
    uart_buf[len + 4] = '\0';

    HAL_UART_Transmit(&huart3, (uint8_t*)uart_buf, len + 4, 100);
}

/* USER CODE END 4 */

void Error_Handler(void)
{
}
